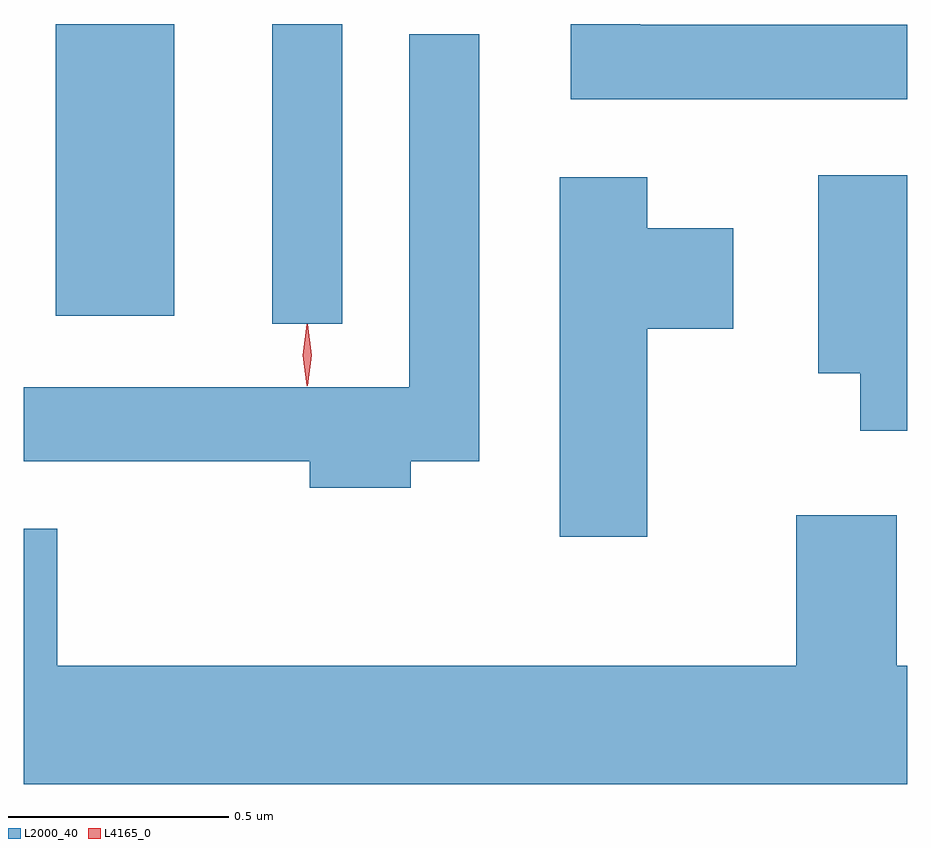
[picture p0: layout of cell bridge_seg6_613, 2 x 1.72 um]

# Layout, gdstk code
import gdstk
lib = gdstk.Library(unit=1e-6, precision=1e-09)
def R(c, l, rs):  # rectangles x0, y0, x1, y1
    for r in rs: c.add(gdstk.rectangle(r[:2], r[2:], *l))
def P(c, l, *ps):  # polygons
    for p in ps: c.add(gdstk.Polygon(p, *l))
L2000_40 = (2000, 40)
L4165_0 = (4165, 0)

bridge_seg6_613 = lib.new_cell('bridge_seg6_613')
R(bridge_seg6_613, L2000_40, [(465.876,1611.018,466.034,1611.696), (465.386,1611.036,465.654,1611.696)])
P(bridge_seg6_613, L2000_40, [(467.313,1611.694),(466.709,1611.694),(466.709,1611.696),(466.551,1611.696),(466.551,1611.526),(467.313,1611.526)],
  [(466.189,1610.706),(466.344,1610.706),(466.344,1611.673),(466.186,1611.673),(466.186,1610.874),(465.313,1610.874),(465.313,1610.706),(465.961,1610.706),(465.961,1610.646),(466.189,1610.646)],
  [(467.313,1611.354),(467.111,1611.354),(467.111,1610.906),(467.206,1610.906),(467.206,1610.776),(467.313,1610.776)],
  [(466.724,1611.006),(466.919,1611.006),(466.919,1611.234),(466.724,1611.234),(466.724,1611.349),(466.526,1611.349),(466.526,1610.536),(466.724,1610.536)],
  [(467.313,1610.244),(467.289,1610.244),(467.289,1610.584),(467.061,1610.584),(467.061,1610.244),(465.389,1610.244),(465.389,1610.554),(465.313,1610.554),(465.313,1609.976),(467.313,1609.976)])
P(bridge_seg6_613, L4165_0, [(465.954,1610.877),(465.945,1610.946),(465.954,1611.016),(465.955,1611.016),(465.956,1611.016),(465.965,1610.946),(465.956,1610.877),(465.955,1610.877)],
  [(465.955,1610.879),(465.954,1610.88),(465.945,1610.946),(465.954,1611.012),(465.955,1611.013),(465.955,1611.012),(465.965,1610.946),(465.955,1610.88)])

lib.write_gds('bridge_seg6_613.gds')
